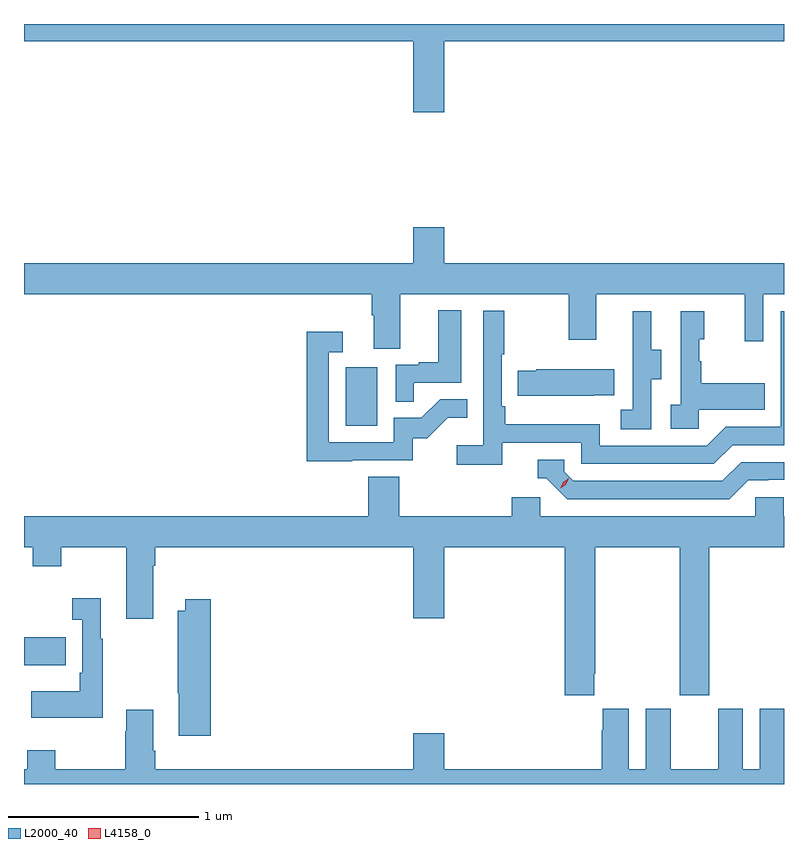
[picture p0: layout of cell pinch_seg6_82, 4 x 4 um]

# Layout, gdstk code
import gdstk
lib = gdstk.Library(unit=1e-6, precision=1e-09)
def R(c, l, rs):  # rectangles x0, y0, x1, y1
    for r in rs: c.add(gdstk.rectangle(r[:2], r[2:], *l))
def P(c, l, *ps):  # polygons
    for p in ps: c.add(gdstk.Polygon(p, *l))
L2000_40 = (2000, 40)
L4158_0 = (4158, 0)

pinch_seg6_82 = lib.new_cell('pinch_seg6_82')
R(pinch_seg6_82, L2000_40, [(918.204,932.063,918.425,932.211), (919.898,933.324,920.062,933.631)])
P(pinch_seg6_82, L2000_40, [(920.416,935.348),(922.204,935.348),(922.204,935.438),(918.204,935.438),(918.204,935.348),(920.252,935.348),(920.252,934.974),(920.416,934.974)],
  [(920.185,934.016),(921.07,934.016),(921.07,933.777),(921.217,933.777),(921.217,934.016),(921.998,934.016),(921.998,933.768),(922.095,933.768),(922.095,934.016),(922.204,934.016),(922.204,934.18),(920.416,934.18),(920.416,934.369),(920.252,934.369),(920.252,934.18),(918.204,934.18),(918.204,934.016),(920.033,934.016),(920.033,933.904),(920.045,933.904),(920.045,933.73),(920.185,933.73)],
  [(920.255,933.549),(920.506,933.549),(920.506,933.931),(920.384,933.931),(920.384,933.658),(920.281,933.658),(920.281,933.645),(920.16,933.645),(920.16,933.451),(920.255,933.451)],
  [(920.72,933.234),(921.138,933.234),(921.138,933.123),(921.835,933.123),(921.934,933.222),(922.204,933.222),(922.204,933.927),(922.188,933.927),(922.188,933.318),(921.897,933.318),(921.798,933.219),(921.234,933.219),(921.234,933.331),(920.738,933.331),(920.738,933.427),(920.718,933.427),(920.718,933.7),(920.731,933.7),(920.731,933.928),(920.622,933.928),(920.622,933.22),(920.481,933.22),(920.481,933.118),(920.72,933.118)],
  [(921.504,933.568),(921.559,933.568),(921.559,933.723),(921.505,933.723),(921.505,933.925),(921.407,933.925),(921.407,933.711),(921.408,933.711),(921.408,933.407),(921.345,933.407),(921.345,933.304),(921.504,933.304)],
  [(921.756,933.407),(922.103,933.407),(922.103,933.547),(921.769,933.547),(921.769,933.662),(921.759,933.662),(921.759,933.78),(921.784,933.78),(921.784,933.925),(921.66,933.925),(921.66,933.434),(921.609,933.434),(921.609,933.309),(921.756,933.309)],
  [(919.931,933.141),(920.25,933.141),(920.25,933.258),(920.326,933.258),(920.433,933.365),(920.537,933.365),(920.537,933.464),(920.394,933.464),(920.296,933.366),(920.151,933.366),(920.151,933.237),(919.809,933.237),(919.809,933.711),(919.882,933.711),(919.882,933.817),(919.693,933.817),(919.693,933.136),(919.931,933.136)],
  [(921.203,933.485),(921.311,933.485),(921.311,933.622),(920.901,933.622),(920.901,933.612),(920.803,933.612),(920.803,933.482),(921.203,933.482)],
  [(922.015,933.036),(922.122,933.036),(922.122,933.039),(922.204,933.039),(922.204,933.132),(921.978,933.132),(921.879,933.033),(921.096,933.033),(921.048,933.081),(921.048,933.144),(920.909,933.144),(920.909,933.048),(920.952,933.048),(921.063,932.937),(921.916,932.937)],
  [(921.205,932.017),(921.21,932.017),(921.21,932.684),(921.655,932.684),(921.655,931.905),(921.81,931.905),(921.81,932.684),(922.204,932.684),(922.204,932.848),(922.203,932.848),(922.203,932.946),(922.053,932.946),(922.053,932.848),(920.922,932.848),(920.922,932.946),(920.771,932.946),(920.771,932.848),(920.18,932.848),(920.18,933.056),(920.015,933.056),(920.015,932.848),(918.204,932.848),(918.204,932.684),(918.251,932.684),(918.251,932.585),(918.399,932.585),(918.399,932.684),(918.743,932.684),(918.743,932.307),(918.883,932.307),(918.883,932.588),(918.896,932.588),(918.896,932.684),(920.252,932.684),(920.252,932.31),(920.416,932.31),(920.416,932.684),(921.05,932.684),(921.05,931.905),(921.205,931.905)],
  [(918.619,932.203),(918.607,932.203),(918.607,932.416),(918.459,932.416),(918.459,932.303),(918.51,932.303),(918.51,932.023),(918.498,932.023),(918.498,931.927),(918.241,931.927),(918.241,931.787),(918.619,931.787)],
  [(919.187,932.41),(919.052,932.41),(919.052,932.35),(919.012,932.35),(919.012,931.915),(919.019,931.915),(919.019,931.692),(919.187,931.692)],
  [(922.204,931.834),(922.076,931.834),(922.076,931.516),(921.988,931.516),(921.988,931.834),(921.857,931.834),(921.857,931.516),(921.607,931.516),(921.607,931.834),(921.476,931.834),(921.476,931.516),(921.388,931.516),(921.388,931.834),(921.251,931.834),(921.251,931.721),(921.245,931.721),(921.245,931.516),(920.416,931.516),(920.416,931.705),(920.252,931.705),(920.252,931.516),(918.896,931.516),(918.896,931.612),(918.883,931.612),(918.883,931.828),(918.743,931.828),(918.743,931.715),(918.736,931.715),(918.736,931.516),(918.369,931.516),(918.369,931.615),(918.222,931.615),(918.222,931.516),(918.204,931.516),(918.204,931.438),(922.204,931.438)])
P(pinch_seg6_82, L4158_0, [(921.026,932.994),(921.026,932.994),(921.041,933.027),(921.072,933.047),(921.072,933.047),(921.072,933.047),(921.056,933.014),(921.026,932.994)])

lib.write_gds('pinch_seg6_82.gds')
